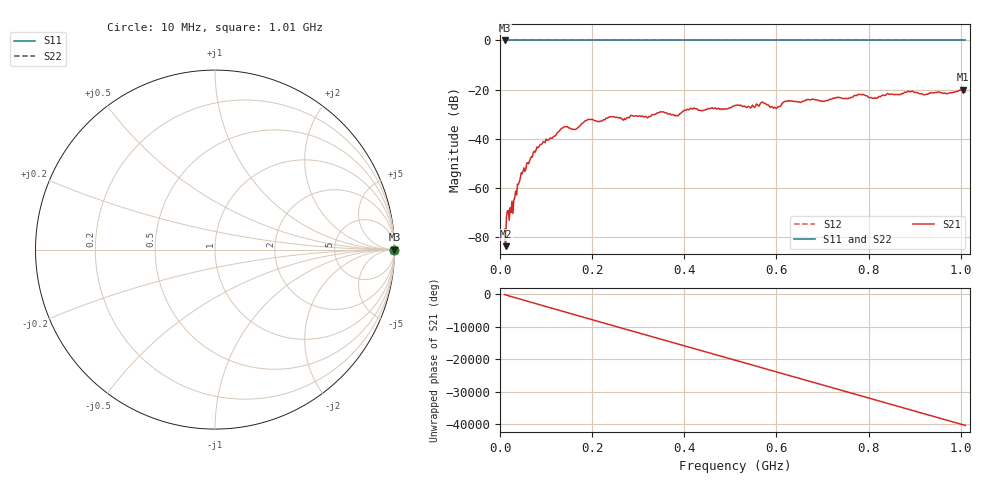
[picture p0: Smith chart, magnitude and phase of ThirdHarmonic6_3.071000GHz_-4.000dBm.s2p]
! 8/17/2025 8:58:32 AM
! C:\ANRITSUVNA\TEMP\TEMP.S2P
! CHANNEL.1
! TR.MEASUREMENT
! RAW.DATA
! RF.CORRECTION.OFF
! AVERAGING.OFF
! IF.BANDWIDTH: 5KHZ
! SWEEPTYPE:  FREQ.SWEEP(Linear)
! Reference Plane Port Info
! PORT:  PORT1  PORT2
! DISTANCE:  0  m  0  m
! TIME:  0  s  0  s
! PHASE.OFFSET:  0  deg.  0  deg.
! LOSS:  0  dB  0  dB
! REF.LOSS:  0  dB  0  dB
! REF.FREQ:  0  Hz  0  Hz
! Power Info
! POWER:  -20  dBm  -20  dBm
! EFF.POWER:  -20  dBm  -20  dBm
! SOURCE.ATTEN:  0  dB  0  dB
! TEST.ATTEN:  0  dB  0  dB
# GHZ S RI R 50.0
! FREQ.GHZ  S11RE  S11IM  S21RE  S21IM  S12RE  S12IM  S22RE  S22IM
!; PortSelection: Port_12
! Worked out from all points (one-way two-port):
!   501 points, 10 MHz to 1.01 GHz, reference 50 ohm
!   highest |S21| = -20.07 dB at 1.004 GHz (marker M1); lowest = -83.7 dB at 12 MHz (marker M2)
!   lowest |S11| = 0.0 dB at 10 MHz (marker M3)
!   |S11| at or under -10 dB: nowhere
!   |S22| runs from 0.0 to 0.0 dB; largest |S21 - S12| = 1.1
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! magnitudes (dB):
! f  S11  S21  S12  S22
! 10 MHz  0.0  -76.8  0.0  0.0
! 12 MHz  0.0  -83.7  0.0  0.0
! 18 MHz  0.0  -69.1  0.0  0.0
! 24 MHz  0.0  -70.0  0.0  0.0
! 48 MHz  0.0  -54.3  0.0  0.0
! 76 MHz  0.0  -45.5  0.0  0.0
! 136 MHz  0.0  -35.6  0.0  0.0
! 162 MHz  0.0  -36.3  0.0  0.0
! 178 MHz  0.0  -33.8  0.0  0.0
! 344 MHz  0.0  -29.5  0.0  0.0
! 384 MHz  0.0  -30.5  0.0  0.0
! 416 MHz  0.0  -27.8  0.0  0.0
! 510 MHz  0.0  -26.5  0.0  0.0
! 570 MHz  0.0  -25.1  0.0  0.0
! 598 MHz  0.0  -27.4  0.0  0.0
! 622 MHz  0.0  -24.7  0.0  0.0
! 678 MHz  0.0  -23.9  0.0  0.0
! 780 MHz  0.0  -22.0  0.0  0.0
! 814 MHz  0.0  -23.3  0.0  0.0
! 844 MHz  0.0  -21.9  0.0  0.0
! 1.004 GHz  0.0  -20.1  0.0  0.0
! 1.01 GHz  0.0  -20.9  0.0  0.0
